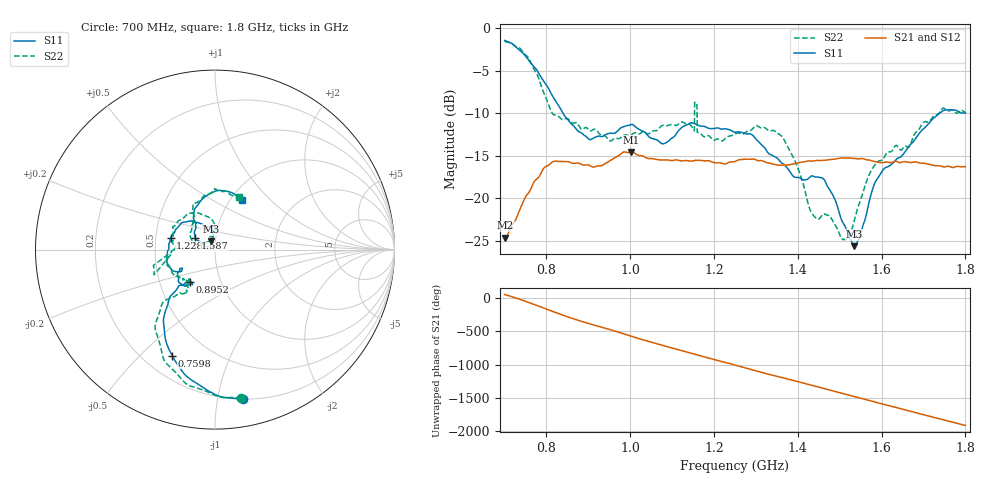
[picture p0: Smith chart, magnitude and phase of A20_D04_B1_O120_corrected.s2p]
! Created with skrf 1.9.0 (http://scikit-rf.org).
# Hz S RI R 50.0
!freq ReS11 ImS11 ReS21 ImS21 ReS12 ImS12 ReS22 ImS22
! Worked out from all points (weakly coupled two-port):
!   1601 points, 700 MHz to 1.8 GHz, reference 50 ohm
!   highest |S21| = -14.54 dB at 1.002 GHz (marker M1); lowest = -24.6 dB at 701.4 MHz (marker M2)
!   lowest |S11| = -25.6 dB at 1.535 GHz (marker M3), VSWR 1.11, Z = 47.5 + j4.41 ohm
!   |S11| at or under -10 dB: 839.5 MHz to 1.739 GHz (899.1 MHz wide, 69.8 % of centre)
!   |S22| runs from -24.9 to -1.5 dB; largest |S21 - S12| = 0.0034
!   S11 on the Smith chart (normalised r, x): 700 MHz: 0.20, -1.19; 759.8 MHz: 0.32, -0.63; 895.2 MHz: 0.71, -0.27; 1.228 GHz: 0.60, +0.09; 1.587 GHz: 0.80, +0.10; 1.8 GHz: 1.13, +0.70
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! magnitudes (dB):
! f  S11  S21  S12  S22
! 700 MHz  -1.4  -24.6  -24.4  -1.5
! 701.4 MHz  -1.5  -24.6  -24.3  -1.6
! 759.8 MHz  -3.9  -19.2  -19.0  -3.7
! 814.1 MHz  -8.0  -15.7  -15.8  -10.0
! 883.6 MHz  -12.3  -16.0  -15.9  -11.9
! 895.2 MHz  -12.8  -16.1  -16.2  -11.7
! 1.002 GHz  -11.3  -14.5  -14.6  -12.6
! 1.067 GHz  -13.2  -15.5  -15.4  -11.9
! 1.148 GHz  -11.1  -15.6  -15.6  -11.6
! 1.154 GHz  -11.2  -15.5  -15.5  -8.7
! 1.173 GHz  -11.5  -15.6  -15.5  -12.7
! 1.228 GHz  -11.8  -16.0  -15.9  -12.9
! 1.25 GHz  -12.2  -15.7  -15.6  -12.4
! 1.36 GHz  -15.8  -16.1  -16.1  -12.6
! 1.434 GHz  -17.4  -15.6  -15.6  -21.8
! 1.464 GHz  -17.9  -15.5  -15.5  -21.9
! 1.51 GHz  -23.1  -15.3  -15.2  -24.9
! 1.535 GHz  -25.6  -15.3  -15.3  -22.7
! 1.587 GHz  -17.9  -15.7  -15.7  -15.9
! 1.617 GHz  -16.2  -15.8  -15.7  -14.5
! 1.744 GHz  -9.8  -16.3  -16.2  -9.5
! 1.8 GHz  -10.0  -16.3  -16.3  -9.9
